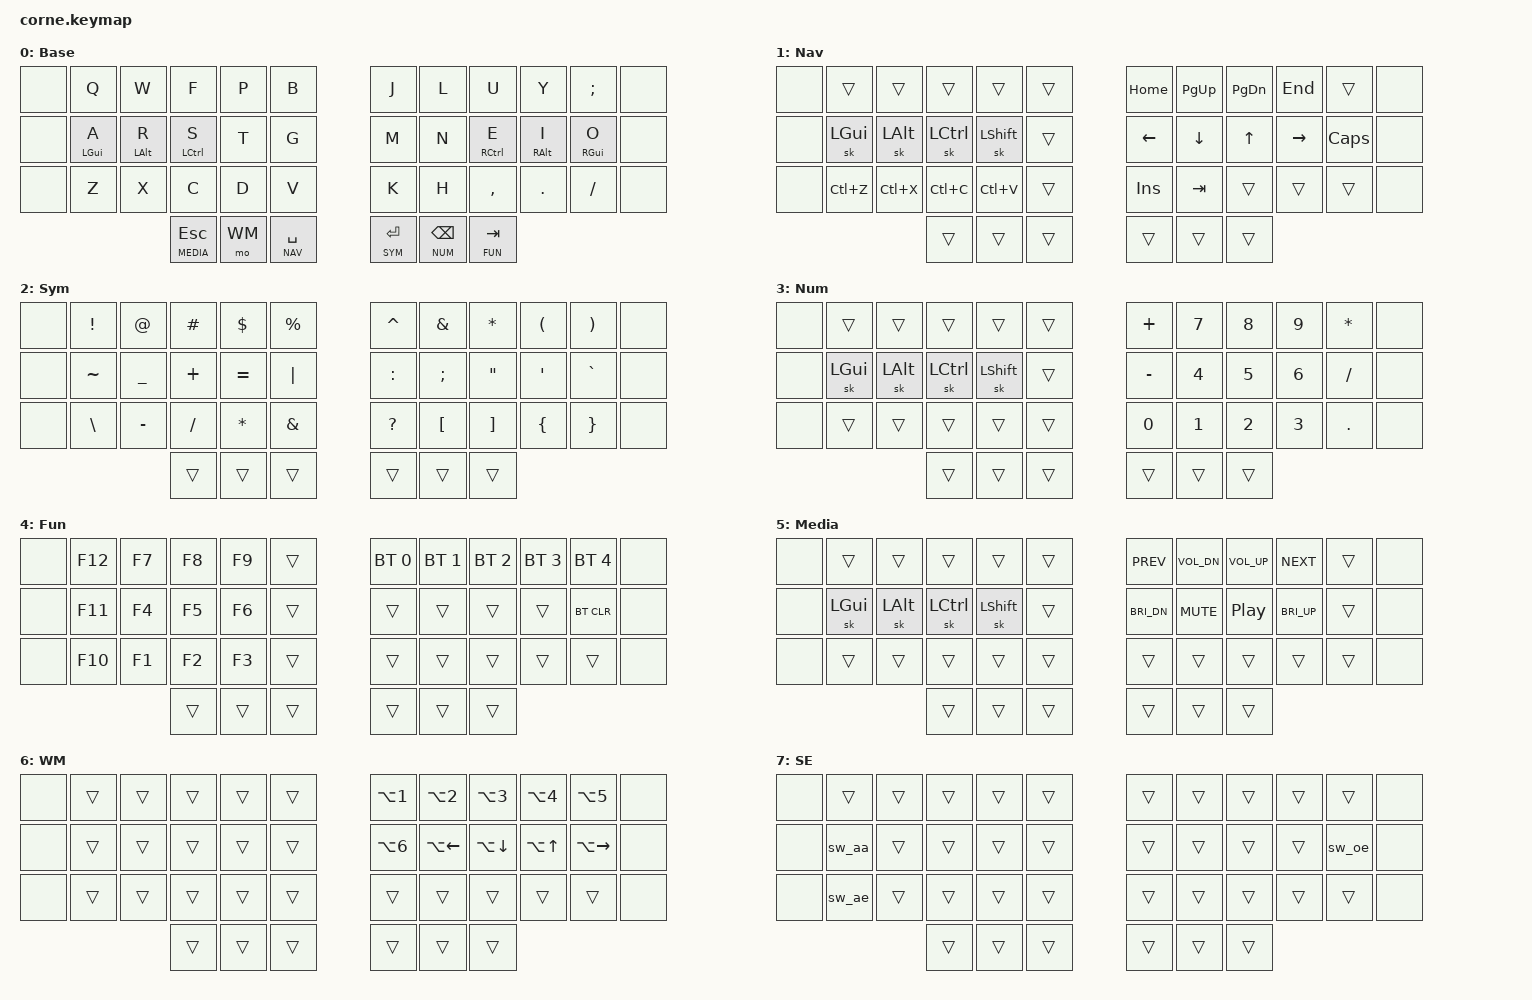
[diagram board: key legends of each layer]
#include <behaviors.dtsi>
#include <dt-bindings/zmk/keys.h>
#include <dt-bindings/zmk/bt.h>
#include <dt-bindings/zmk/outputs.h>

// Position-konstanter för bilateral HRM
// Chocofi = Corne minus outer pinky-kolumn (pos 0, 11, 12, 23, 24, 35 = &none)
#define KEYS_L 1 2 3 4 5 13 14 15 16 17 25 26 27 28 29
#define KEYS_R 6 7 8 9 10 18 19 20 21 22 30 31 32 33 34
#define THUMBS 36 37 38 39 40 41

// Layer definitions
#define BASE 0
#define NAV 1
#define SYM 2
#define NUM 3
#define FUN 4
#define MEDIA 5
#define WM 6
#define SE 7

/ {
    behaviors {
        hml: home_row_mod_left {
            compatible = "zmk,behavior-hold-tap";
            #binding-cells = <2>;
            flavor = "balanced";
            tapping-term-ms = <280>;
            quick-tap-ms = <175>;
            require-prior-idle-ms = <150>;
            hold-trigger-on-release;
            hold-trigger-key-positions = <KEYS_R THUMBS>;
            bindings = <&kp>, <&kp>;
        };

        hmr: home_row_mod_right {
            compatible = "zmk,behavior-hold-tap";
            #binding-cells = <2>;
            flavor = "balanced";
            tapping-term-ms = <280>;
            quick-tap-ms = <175>;
            require-prior-idle-ms = <150>;
            hold-trigger-on-release;
            hold-trigger-key-positions = <KEYS_L THUMBS>;
            bindings = <&kp>, <&kp>;
        };

        // Thumb layer-tap: tap-preferred för robust space/enter/bspc/tab
        lts: layer_tap_thumb {
            compatible = "zmk,behavior-hold-tap";
            #binding-cells = <2>;
            flavor = "tap-preferred";
            tapping-term-ms = <200>;
            quick-tap-ms = <175>;
            bindings = <&mo>, <&kp>;
        };
    };

    macros {
        // Windows Alt-codes för svenska tecken
        // Funkar oavsett OS keyboard-layout (kräver NumLock på)
        sw_aa: swedish_aa {
            compatible = "zmk,behavior-macro";
            #binding-cells = <0>;
            bindings = <&macro_press &kp LALT>,
                       <&macro_tap &kp KP_N0 &kp KP_N2 &kp KP_N2 &kp KP_N9>,
                       <&macro_release &kp LALT>;
        };

        sw_ae: swedish_ae {
            compatible = "zmk,behavior-macro";
            #binding-cells = <0>;
            bindings = <&macro_press &kp LALT>,
                       <&macro_tap &kp KP_N0 &kp KP_N2 &kp KP_N2 &kp KP_N8>,
                       <&macro_release &kp LALT>;
        };

        sw_oe: swedish_oe {
            compatible = "zmk,behavior-macro";
            #binding-cells = <0>;
            bindings = <&macro_press &kp LALT>,
                       <&macro_tap &kp KP_N0 &kp KP_N2 &kp KP_N4 &kp KP_N6>,
                       <&macro_release &kp LALT>;
        };
    };

    combos {
        compatible = "zmk,combos";

        // Sticky-shift: vänster middle + index, bottenrad (C + D)
        combo_sticky_shift {
            timeout-ms = <50>;
            require-prior-idle-ms = <150>;
            key-positions = <27 28>;
            bindings = <&sk LSHFT>;
        };

        // Caps-word: vänster middle + index, topp-rad (F + P)
        combo_caps_word {
            timeout-ms = <50>;
            require-prior-idle-ms = <150>;
            key-positions = <3 4>;
            bindings = <&caps_word>;
        };

        // ESC: vänster ring + middle, topp-rad (Q + W)
        combo_esc {
            timeout-ms = <50>;
            require-prior-idle-ms = <150>;
            key-positions = <1 2>;
            bindings = <&kp ESC>;
        };

        // Parens (
        combo_lpar {
            timeout-ms = <50>;
            require-prior-idle-ms = <150>;
            key-positions = <8 9>;
            bindings = <&kp LPAR>;
        };

        // Parens )
        combo_rpar {
            timeout-ms = <50>;
            require-prior-idle-ms = <150>;
            key-positions = <7 8>;
            bindings = <&kp RPAR>;
        };

        // Brackets [
        combo_lbkt {
            timeout-ms = <50>;
            require-prior-idle-ms = <150>;
            key-positions = <18 19>;
            bindings = <&kp LBKT>;
        };

        // Brackets ]
        combo_rbkt {
            timeout-ms = <50>;
            require-prior-idle-ms = <150>;
            key-positions = <19 20>;
            bindings = <&kp RBKT>;
        };

        // Braces {
        combo_lbrc {
            timeout-ms = <50>;
            require-prior-idle-ms = <150>;
            key-positions = <32 33>;
            bindings = <&kp LBRC>;
        };

        // Braces }
        combo_rbrc {
            timeout-ms = <50>;
            require-prior-idle-ms = <150>;
            key-positions = <33 34>;
            bindings = <&kp RBRC>;
        };

        // Undo (Ctrl+Z)
        combo_undo {
            timeout-ms = <50>;
            require-prior-idle-ms = <150>;
            key-positions = <25 26>;
            bindings = <&kp LC(Z)>;
        };

        // Panic — yttre tummar = tillbaka till base layer (alltid)
        combo_to_base {
            timeout-ms = <80>;
            require-prior-idle-ms = <0>;
            key-positions = <36 41>;
            bindings = <&to 0>;
        };

        // Bootloader — 3-key Q + B + ;
        combo_bootloader {
            timeout-ms = <50>;
            require-prior-idle-ms = <500>;
            key-positions = <1 5 10>;
            bindings = <&bootloader>;
        };

        // Bootloader backup — yttre kanter botten (Z + /)
        combo_bootloader_alt {
            timeout-ms = <50>;
            require-prior-idle-ms = <500>;
            key-positions = <25 34>;
            bindings = <&bootloader>;
        };

        // SE-trigger — sticky-layer för svenska bokstäver
        // Y + ; (höger pinky-area, sällan i normalt typing)
        combo_se {
            timeout-ms = <50>;
            require-prior-idle-ms = <150>;
            key-positions = <9 10>;
            bindings = <&sl SE>;
        };
    };

    keymap {
        compatible = "zmk,keymap";

        base_layer {
            display-name = "Base";
// ---------------------------------------------------------------------------------------------------
// | _   |   Q   |   W   |   F   |   P   |  B  |   |  J  |   L   |   U   |   Y   |  ;  |  _   |
// | _   | GUI A | ALT R | CTL S |   T   |  G  |   |  M  |   N   | CTL E | ALT I | GUI O|  _   |
// | _   |   Z   |   X   |   C   |   D   |  V  |   |  K  |   H   |   ,   |   .   |  /   |  _   |
//                              ESC/MEDIA | WM | NAV/SPC | SYM/RET | NUM/BSPC | FUN/TAB
            bindings = <
   &none    &kp Q        &kp W        &kp F        &kp P        &kp B           &kp J        &kp L        &kp U         &kp Y         &kp SEMI     &none
   &none    &hml LGUI A  &hml LALT R  &hml LCTRL S &kp T        &kp G           &kp M        &kp N        &hmr RCTRL E  &hmr RALT I   &hmr RGUI O  &none
   &none    &kp Z        &kp X        &kp C        &kp D        &kp V           &kp K        &kp H        &kp COMMA     &kp DOT       &kp FSLH     &none
                                  &lt MEDIA ESC    &mo WM       &lts NAV SPACE  &lts SYM RET &lts NUM BSPC &lts FUN TAB
            >;
        };

        nav_layer {
            display-name = "Nav";
// ---------------------------------------------------------------------------------------------------
// | _   |   _   |   _   |   _   |   _   |  _  |   | HOME | PgUp | PgDn |  End  |   _   |  _   |
// | _   |  GUI  |  ALT  |  CTL  |  SHF  |  _  |   |  ←   |   ↓  |   ↑  |   →   | CAPS  |  _   |
// | _   | C+Z   | C+X   | C+C   | C+V   |  _  |   |  INS | TAB  |   _  |   _   |   _   |  _   |
            bindings = <
   &none    &trans       &trans       &trans       &trans       &trans          &kp HOME     &kp PG_UP    &kp PG_DN     &kp END       &trans        &none
   &none    &sk LGUI     &sk LALT     &sk LCTRL    &sk LSHFT    &trans          &kp LEFT     &kp DOWN     &kp UP        &kp RIGHT     &kp CAPS      &none
   &none    &kp LC(Z)    &kp LC(X)    &kp LC(C)    &kp LC(V)    &trans          &kp INS      &kp TAB      &trans        &trans        &trans        &none
                                      &trans       &trans       &trans          &trans       &trans       &trans
            >;
        };

        sym_layer {
            display-name = "Sym";
// ---------------------------------------------------------------------------------------------------
// | _   |  !  |  @  |  #  |  $  |  %  |   |  ^  |  &  |  *  |  (  |  )  |  _  |
// | _   |  ~  |  _  |  +  |  =  |  |  |   |  :  |  ;  |  "  |  '  |  `  |  _  |
// | _   |  \  |  -  |  /  |  *  |  &  |   |  ?  |  [  |  ]  |  {  |  }  |  _  |
            bindings = <
   &none    &kp EXCL     &kp AT       &kp HASH     &kp DLLR     &kp PRCNT       &kp CARET    &kp AMPS     &kp ASTRK     &kp LPAR      &kp RPAR      &none
   &none    &kp TILDE    &kp UNDER    &kp PLUS     &kp EQUAL    &kp PIPE        &kp COLON    &kp SEMI     &kp DQT       &kp SQT       &kp GRAVE     &none
   &none    &kp BSLH     &kp MINUS    &kp FSLH     &kp ASTRK    &kp AMPS        &kp QMARK    &kp LBKT     &kp RBKT      &kp LBRC      &kp RBRC      &none
                                      &trans       &trans       &trans          &trans       &trans       &trans
            >;
        };

        num_layer {
            display-name = "Num";
// ---------------------------------------------------------------------------------------------------
// | _   |   _   |   _   |   _   |   _   |  _  |   |  +  |   7  |   8  |   9   |   *   |  _   |
// | _   |  GUI  |  ALT  |  CTL  |  SHF  |  _  |   |  -  |   4  |   5  |   6   |   /   |  _   |
// | _   |   _   |   _   |   _   |   _   |  _  |   |  0  |   1  |   2  |   3   |   .   |  _   |
            bindings = <
   &none    &trans       &trans       &trans       &trans       &trans          &kp PLUS     &kp N7       &kp N8        &kp N9        &kp ASTRK     &none
   &none    &sk LGUI     &sk LALT     &sk LCTRL    &sk LSHFT    &trans          &kp MINUS    &kp N4       &kp N5        &kp N6        &kp FSLH      &none
   &none    &trans       &trans       &trans       &trans       &trans          &kp N0       &kp N1       &kp N2        &kp N3        &kp DOT       &none
                                      &trans       &trans       &trans          &trans       &trans       &trans
            >;
        };

        fun_layer {
            display-name = "Fun";
// ---------------------------------------------------------------------------------------------------
// | _   |  F12  |  F7   |  F8   |  F9   |  _  |   | BT0  | BT1  | BT2  | BT3   | BT4   |  _   |
// | _   |  F11  |  F4   |  F5   |  F6   |  _  |   |  _   |  _   |  _   |  _    | BTCLR |  _   |
// | _   |  F10  |  F1   |  F2   |  F3   |  _  |   |  _   |  _   |  _   |  _    |  _    |  _   |
            bindings = <
   &none    &kp F12      &kp F7       &kp F8       &kp F9       &trans          &bt BT_SEL 0 &bt BT_SEL 1 &bt BT_SEL 2  &bt BT_SEL 3  &bt BT_SEL 4  &none
   &none    &kp F11      &kp F4       &kp F5       &kp F6       &trans          &trans       &trans       &trans        &trans        &bt BT_CLR    &none
   &none    &kp F10      &kp F1       &kp F2       &kp F3       &trans          &trans       &trans       &trans        &trans        &trans        &none
                                      &trans       &trans       &trans          &trans       &trans       &trans
            >;
        };

        media_layer {
            display-name = "Media";
// ---------------------------------------------------------------------------------------------------
// | _   |   _   |   _   |   _   |   _   |  _  |   | PREV | VOL- | VOL+ | NEXT |  _   |  _   |
// | _   |  GUI  |  ALT  |  CTL  |  SHF  |  _  |   | BRI- | MUTE | PLAY | BRI+ |  _   |  _   |
// | _   |   _   |   _   |   _   |   _   |  _  |   |  _   |  _   |  _   |  _   |  _   |  _   |
            bindings = <
   &none    &trans       &trans       &trans       &trans       &trans          &kp C_PREV   &kp C_VOL_DN &kp C_VOL_UP  &kp C_NEXT    &trans        &none
   &none    &sk LGUI     &sk LALT     &sk LCTRL    &sk LSHFT    &trans          &kp C_BRI_DN &kp C_MUTE   &kp C_PP      &kp C_BRI_UP  &trans        &none
   &none    &trans       &trans       &trans       &trans       &trans          &trans       &trans       &trans        &trans        &trans        &none
                                      &trans       &trans       &trans          &trans       &trans       &trans
            >;
        };

        wm_layer {
            display-name = "WM";
// ---------------------------------------------------------------------------------------------------
// | _   |   _   |   _   |   _   |   _   |  _  |   | A+1  | A+2  | A+3  | A+4  | A+5  |  _   |
// | _   |   _   |   _   |   _   |   _   |  _  |   | A+6  | A+←  | A+↓  | A+↑  | A+→  |  _   |
// | _   |   _   |   _   |   _   |   _   |  _  |   |  _   |  _   |  _   |  _   |  _   |  _   |
            bindings = <
   &none    &trans       &trans       &trans       &trans       &trans          &kp LA(N1)   &kp LA(N2)   &kp LA(N3)    &kp LA(N4)    &kp LA(N5)    &none
   &none    &trans       &trans       &trans       &trans       &trans          &kp LA(N6)   &kp LA(LEFT) &kp LA(DOWN)  &kp LA(UP)    &kp LA(RIGHT) &none
   &none    &trans       &trans       &trans       &trans       &trans          &trans       &trans       &trans        &trans        &trans        &none
                                      &trans       &trans       &trans          &trans       &trans       &trans
            >;
        };

        se_layer {
            display-name = "SE";
// ---------------------------------------------------------------------------------------------------
// | _   |   _   |   _   |   _   |   _   |  _  |   |  _   |  _   |  _   |  _   |  _   |  _   |
// | _   |   å   |   _   |   _   |   _   |  _  |   |  _   |  _   |  _   |  _   |  ö   |  _   |
// | _   |   ä   |   _   |   _   |   _   |  _  |   |  _   |  _   |  _   |  _   |  _   |  _   |
//                                  _    |  _  | _ |  _   |  _   |  _
            bindings = <
   &none    &trans       &trans       &trans       &trans       &trans          &trans       &trans       &trans        &trans        &trans        &none
   &none    &sw_aa       &trans       &trans       &trans       &trans          &trans       &trans       &trans        &trans        &sw_oe        &none
   &none    &sw_ae       &trans       &trans       &trans       &trans          &trans       &trans       &trans        &trans        &trans        &none
                                      &trans       &trans       &trans          &trans       &trans       &trans
            >;
        };
    };
};
